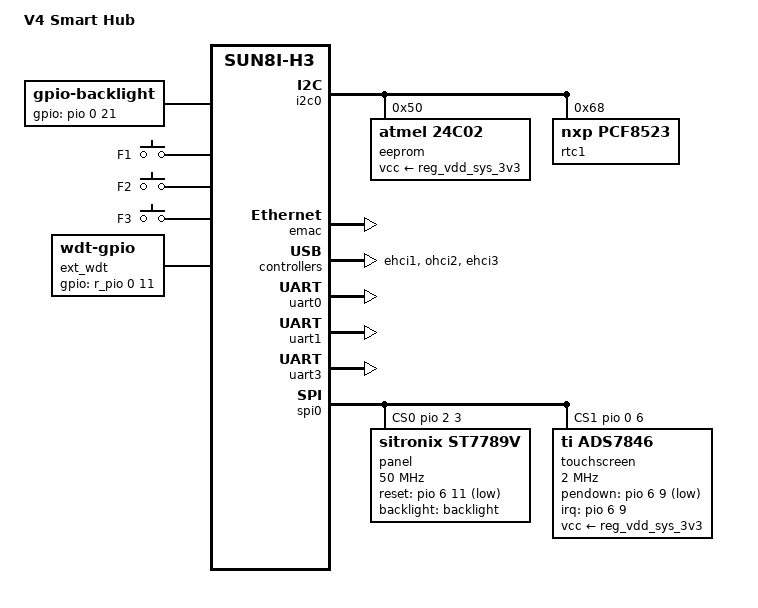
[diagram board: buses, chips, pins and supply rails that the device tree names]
/*
 * Copyright (C) 2018 Mans Rullgard <mans@mansr.com>
 *
 * This file is dual-licensed: you can use it either under the terms
 * of the GPL or the X11 license, at your option. Note that this dual
 * licensing only applies to this file, and not this project as a
 * whole.
 *
 *  a) This file is free software; you can redistribute it and/or
 *     modify it under the terms of the GNU General Public License as
 *     published by the Free Software Foundation; either version 2 of the
 *     License, or (at your option) any later version.
 *
 *     This file is distributed in the hope that it will be useful,
 *     but WITHOUT ANY WARRANTY; without even the implied warranty of
 *     MERCHANTABILITY or FITNESS FOR A PARTICULAR PURPOSE.  See the
 *     GNU General Public License for more details.
 *
 * Or, alternatively,
 *
 *  b) Permission is hereby granted, free of charge, to any person
 *     obtaining a copy of this software and associated documentation
 *     files (the "Software"), to deal in the Software without
 *     restriction, including without limitation the rights to use,
 *     copy, modify, merge, publish, distribute, sublicense, and/or
 *     sell copies of the Software, and to permit persons to whom the
 *     Software is furnished to do so, subject to the following
 *     conditions:
 *
 *     The above copyright notice and this permission notice shall be
 *     included in all copies or substantial portions of the Software.
 *
 *     THE SOFTWARE IS PROVIDED "AS IS", WITHOUT WARRANTY OF ANY KIND,
 *     EXPRESS OR IMPLIED, INCLUDING BUT NOT LIMITED TO THE WARRANTIES
 *     OF MERCHANTABILITY, FITNESS FOR A PARTICULAR PURPOSE AND
 *     NONINFRINGEMENT. IN NO EVENT SHALL THE AUTHORS OR COPYRIGHT
 *     HOLDERS BE LIABLE FOR ANY CLAIM, DAMAGES OR OTHER LIABILITY,
 *     WHETHER IN AN ACTION OF CONTRACT, TORT OR OTHERWISE, ARISING
 *     FROM, OUT OF OR IN CONNECTION WITH THE SOFTWARE OR THE USE OR
 *     OTHER DEALINGS IN THE SOFTWARE.
 */

#include "sun8i-h3-nanopi-neo-core.dtsi"
#include <dt-bindings/input/input.h>

/ {
	model = "V4 Smart Hub";
	compatible = "moixa,v4-smart-hub",
		     "friendlyarm,nanopi-neo-core",
		     "allwinner,sun8i-h3";

	aliases {
		serial0 = &uart0;
		serial1 = &uart1;
		serial3 = &uart3;
		ethernet0 = &emac;
		i2c0 = &i2c0;
		watchdog0 = &ext_wdt;
		watchdog1 = &wdt0;
	};

	chosen {
		stdout-path = "serial0:115200n8";
	};

	backlight: backlight {
		compatible = "gpio-backlight";
		gpios = <&pio 0 21 GPIO_ACTIVE_HIGH>;
		default-on;
	};

	keys {
		compatible = "gpio-keys";
		interrupt-parent = <&pio>;

		key1 {
			label = "F1";
			linux,code = <KEY_F1>;
			gpio = <&pio 0 2 GPIO_ACTIVE_HIGH>;
			interrupts = <0 2 IRQ_TYPE_EDGE_RISING>;
		};

		key2 {
			label = "F2";
			linux,code = <KEY_F2>;
			gpio = <&pio 0 3 GPIO_ACTIVE_HIGH>;
			interrupts = <0 3 IRQ_TYPE_EDGE_RISING>;
		};

		key3 {
			label = "F3";
			linux,code = <KEY_F3>;
			gpio = <&pio 6 8 GPIO_ACTIVE_HIGH>;
			interrupts = <6 8 IRQ_TYPE_EDGE_RISING>;
		};
	};

	ext_wdt: watchdog {
		compatible = "linux,wdt-gpio";
		gpios = <&r_pio 0 11 GPIO_ACTIVE_HIGH>;
		hw_algo = "toggle";
		hw_margin_ms = <30000>;
		always-running;
	};
};

&i2c0 {
	status = "okay";

	eeprom@50 {
		compatible = "atmel,24c02";
		reg = <0x50>;
		pagesize = <16>;
		read-only;
		vcc-supply = <&reg_vdd_sys_3v3>;
	};

	rtc1: rtc@68 {
		compatible = "nxp,pcf8523";
		reg = <0x68>;
	};
};

&emac {
	status = "okay";
};

&ehci1 {
	status = "okay";
};

&ohci2 {
	status = "okay";
};

&ehci3 {
	status = "okay";
};

&uart0 {
	pinctrl-names = "default";
	pinctrl-0 = <&uart0_pa_pins>;
	status = "okay";
};

&uart1 {
	pinctrl-names = "default";
	pinctrl-0 = <&uart1_pins>;
	status = "okay";
};

&uart3 {
	pinctrl-names = "default";
	pinctrl-0 = <&uart3_pins>;
	status = "okay";
};

&spi0 {
	status = "okay";
	cs-gpios = <&pio 2 3 GPIO_ACTIVE_HIGH>, <&pio 0 6 GPIO_ACTIVE_HIGH>;
	num-cs = <2>;

	panel@0 {
		compatible = "sitronix,st7789v";
		reg = <0>;
		reset-gpios = <&pio 6 11 GPIO_ACTIVE_LOW>;
		backlight = <&backlight>;
		spi-max-frequency = <50000000>;
		spi-cpol;
		spi-cpha;
	};

	touchscreen@1 {
		compatible = "ti,ads7846";
		reg = <1>;
		spi-max-frequency = <2000000>;
		interrupt-parent = <&pio>;
		interrupts = <6 9 IRQ_TYPE_EDGE_FALLING>;
		pendown-gpio = <&pio 6 9 GPIO_ACTIVE_LOW>;
		vcc-supply = <&reg_vdd_sys_3v3>;
	};
};

&pio {
	gpio-line-names = "vebus_standby", "mkx_rst";
	gpio-line-numbers = <15>, <16>;
};
